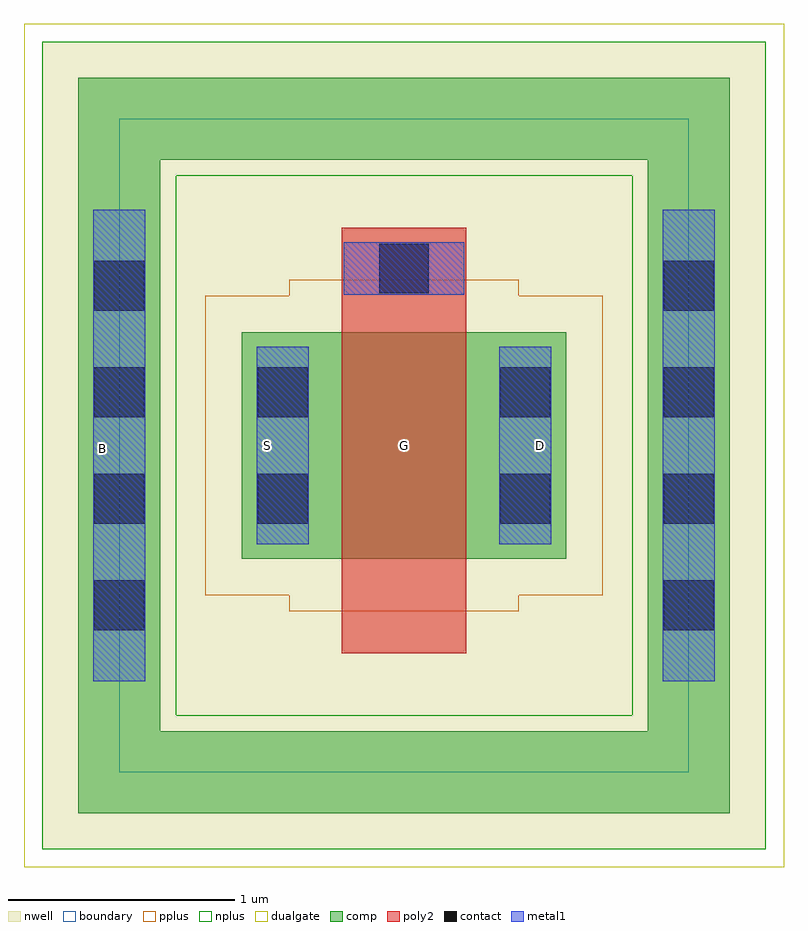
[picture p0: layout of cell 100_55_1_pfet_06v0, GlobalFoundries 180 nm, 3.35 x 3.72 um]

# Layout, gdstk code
import gdstk
lib = gdstk.Library(unit=1e-6, precision=1e-09)
def R(c, l, rs):  # rectangles x0, y0, x1, y1
    for r in rs: c.add(gdstk.rectangle(r[:2], r[2:], *l))
def A(c, l, x, y, w, h, nx, ny, dx, dy):  # array of equal rectangles
    R(c, l, [(x+i*dx, y+j*dy, x+i*dx+w, y+j*dy+h) for i in range(nx) for j in range(ny)])
boundary = (0, 0)
nwell = (21, 0)
comp = (22, 0)
poly2 = (30, 0)
pplus = (31, 0)
nplus = (32, 0)
contact = (33, 0)
metal1 = (34, 0)
dualgate = (55, 0)

c_100_55_1_pfet_06v0 = lib.new_cell('100_55_1_pfet_06v0')
R(c_100_55_1_pfet_06v0, boundary, [(-1.255,-1.44,1.255,1.44)])
R(c_100_55_1_pfet_06v0, nwell, [(-1.595,-1.78,1.595,1.78)])
R(c_100_55_1_pfet_06v0, comp, [(-1.435,-1.62,1.435,-1.26), (-1.435,-1.26,-1.075,1.26), (1.075,-1.26,1.435,1.26), (-0.715,-0.5,0.715,0.5), (-1.435,1.26,1.435,1.62)])
R(c_100_55_1_pfet_06v0, poly2, [(-0.275,-0.915,0.275,0.96)])
R(c_100_55_1_pfet_06v0, pplus, [(-0.505,-0.73,0.505,-0.66), (-0.875,-0.66,0.875,0.66), (-0.505,0.66,0.505,0.73)])
R(c_100_55_1_pfet_06v0, nplus, [(-1.595,-1.78,1.595,-1.19), (-1.595,-1.19,-1.005,1.19), (1.005,-1.19,1.595,1.19), (-1.595,1.19,1.595,1.78)])
A(c_100_55_1_pfet_06v0, contact, -1.365, -0.815, 0.22, 0.22, 1, 4, 0, 0.47)
A(c_100_55_1_pfet_06v0, contact, 1.145, -0.815, 0.22, 0.22, 1, 4, 0, 0.47)
R(c_100_55_1_pfet_06v0, contact, [(-0.645,-0.345,-0.425,-0.125), (0.425,-0.345,0.645,-0.125), (-0.645,0.125,-0.425,0.345), (0.425,0.125,0.645,0.345), (-0.11,0.67,0.11,0.89)])
R(c_100_55_1_pfet_06v0, metal1, [(-1.37,-1.04,-1.14,1.04), (1.14,-1.04,1.37,1.04), (-0.65,-0.435,-0.42,0.435), (0.42,-0.435,0.65,0.435), (-0.265,0.665,0.265,0.895)])
R(c_100_55_1_pfet_06v0, dualgate, [(-1.675,-1.86,1.675,1.86)])
c_100_55_1_pfet_06v0.add(gdstk.Label('D', (0.6,0), layer=34, texttype=0))
c_100_55_1_pfet_06v0.add(gdstk.Label('S', (-0.6,0), layer=34, texttype=0))
c_100_55_1_pfet_06v0.add(gdstk.Label('G', (0,0), layer=30, texttype=10))
c_100_55_1_pfet_06v0.add(gdstk.Label('B', (-1.33,-0.015), layer=30, texttype=10))

lib.write_gds('100_55_1_pfet_06v0.gds')
